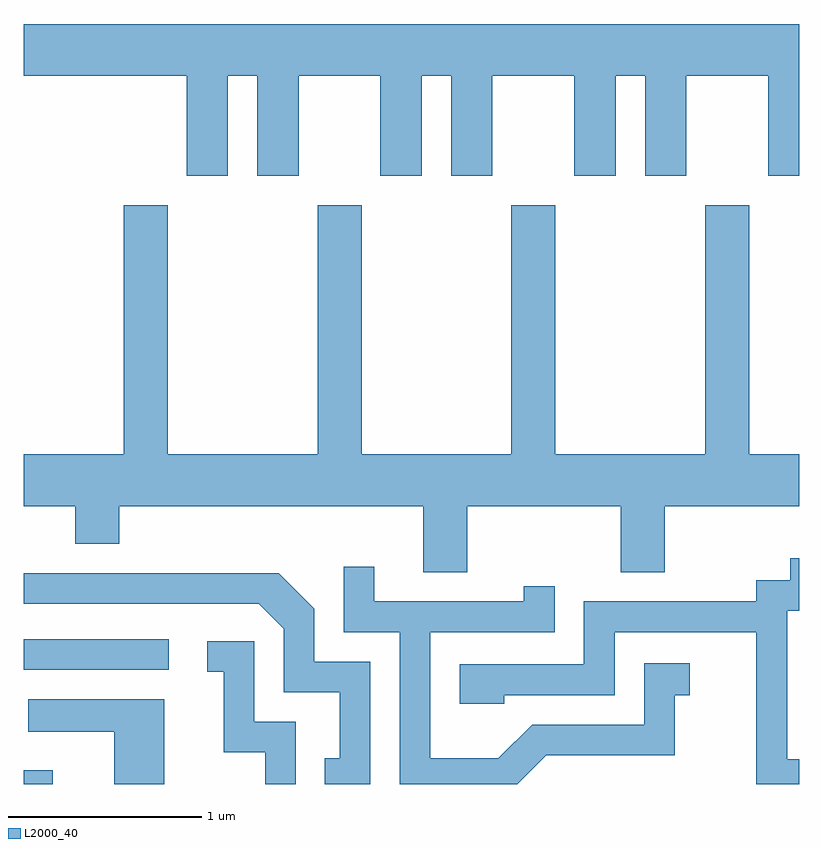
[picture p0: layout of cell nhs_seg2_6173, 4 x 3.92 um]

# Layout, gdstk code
import gdstk
lib = gdstk.Library(unit=1e-6, precision=1e-09)
def R(c, l, rs):  # rectangles x0, y0, x1, y1
    for r in rs: c.add(gdstk.rectangle(r[:2], r[2:], *l))
def P(c, l, *ps):  # polygons
    for p in ps: c.add(gdstk.Polygon(p, *l))
L2000_40 = (2000, 40)

nhs_seg2_6173 = lib.new_cell('nhs_seg2_6173')
R(nhs_seg2_6173, L2000_40, [(367.611,1015.802,367.759,1015.874), (367.611,1016.391,368.358,1016.549)])
P(nhs_seg2_6173, L2000_40, [(368.664,1019.456),(368.816,1019.456),(368.816,1018.941),(369.029,1018.941),(369.029,1019.456),(369.451,1019.456),(369.451,1018.941),(369.664,1018.941),(369.664,1019.456),(369.816,1019.456),(369.816,1018.941),(370.029,1018.941),(370.029,1019.456),(370.451,1019.456),(370.451,1018.941),(370.664,1018.941),(370.664,1019.456),(370.816,1019.456),(370.816,1018.941),(371.029,1018.941),(371.029,1019.456),(371.451,1019.456),(371.451,1018.941),(371.611,1018.941),(371.611,1019.724),(367.611,1019.724),(367.611,1019.456),(368.451,1019.456),(368.451,1018.941),(368.664,1018.941)],
  [(369.899,1017.236),(370.691,1017.236),(370.691,1016.896),(370.919,1016.896),(370.919,1017.236),(371.611,1017.236),(371.611,1017.504),(371.354,1017.504),(371.354,1018.789),(371.126,1018.789),(371.126,1017.504),(370.354,1017.504),(370.354,1018.789),(370.126,1018.789),(370.126,1017.504),(369.354,1017.504),(369.354,1018.789),(369.126,1018.789),(369.126,1017.504),(368.354,1017.504),(368.354,1018.789),(368.126,1018.789),(368.126,1017.504),(367.611,1017.504),(367.611,1017.236),(367.876,1017.236),(367.876,1017.041),(368.104,1017.041),(368.104,1017.236),(369.671,1017.236),(369.671,1016.896),(369.899,1016.896)],
  [(371.611,1015.929),(371.549,1015.929),(371.549,1016.696),(371.611,1016.696),(371.611,1016.968),(371.566,1016.968),(371.566,1016.854),(371.391,1016.854),(371.391,1016.744),(370.501,1016.744),(370.501,1016.419),(369.861,1016.419),(369.861,1016.216),(370.089,1016.216),(370.089,1016.261),(370.659,1016.261),(370.659,1016.586),(371.391,1016.586),(371.391,1015.802),(371.611,1015.802)],
  [(370.307,1015.951),(370.969,1015.951),(370.969,1016.261),(371.048,1016.261),(371.048,1016.424),(370.811,1016.424),(370.811,1016.109),(370.234,1016.109),(370.059,1015.934),(369.709,1015.934),(369.709,1016.586),(370.349,1016.586),(370.349,1016.823),(370.191,1016.823),(370.191,1016.744),(369.419,1016.744),(369.419,1016.923),(369.261,1016.923),(369.261,1016.586),(369.551,1016.586),(369.551,1015.802),(370.158,1015.802)],
  [(369.399,1016.434),(369.109,1016.434),(369.109,1016.707),(368.927,1016.889),(367.611,1016.889),(367.611,1016.731),(368.824,1016.731),(368.951,1016.604),(368.951,1016.276),(369.241,1016.276),(369.241,1015.934),(369.163,1015.934),(369.163,1015.802),(369.399,1015.802)],
  [(369.014,1016.124),(368.799,1016.124),(368.799,1016.539),(368.558,1016.539),(368.558,1016.381),(368.641,1016.381),(368.641,1015.966),(368.856,1015.966),(368.856,1015.802),(369.014,1015.802)],
  [(368.334,1016.239),(367.633,1016.239),(367.633,1016.071),(368.076,1016.071),(368.076,1015.802),(368.334,1015.802)])

lib.write_gds('nhs_seg2_6173.gds')
